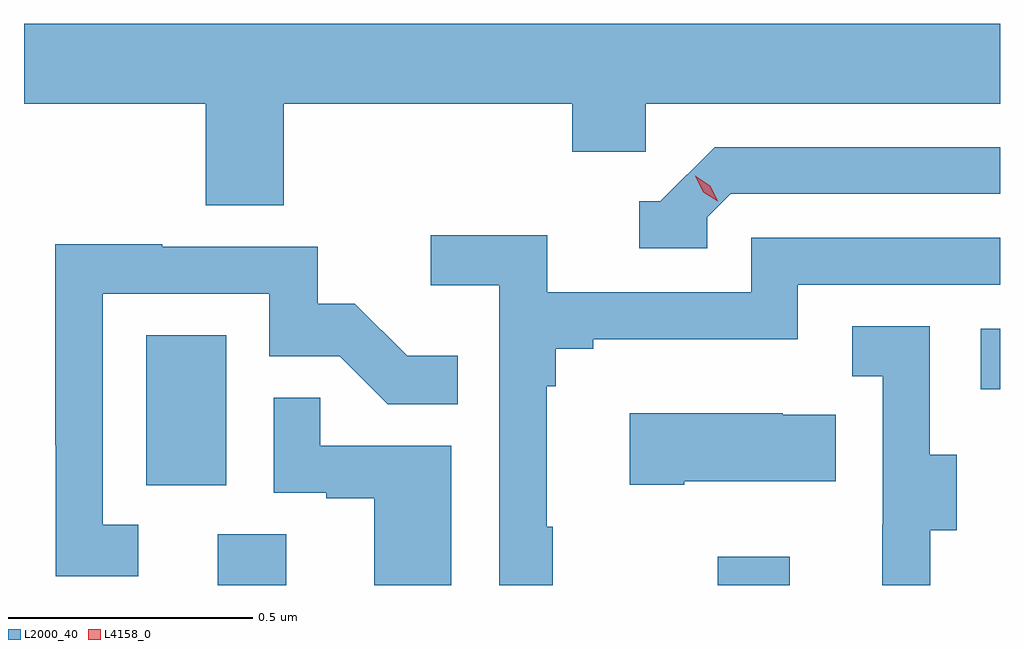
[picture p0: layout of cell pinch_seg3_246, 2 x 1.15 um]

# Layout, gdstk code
import gdstk
lib = gdstk.Library(unit=1e-6, precision=1e-09)
def R(c, l, rs):  # rectangles x0, y0, x1, y1
    for r in rs: c.add(gdstk.rectangle(r[:2], r[2:], *l))
def P(c, l, *ps):  # polygons
    for p in ps: c.add(gdstk.Polygon(p, *l))
L2000_40 = (2000, 40)
L4158_0 = (4158, 0)

pinch_seg3_246 = lib.new_cell('pinch_seg3_246')
R(pinch_seg3_246, L2000_40, [(909.167,731.897,909.307,732.002), (910.192,731.897,910.339,731.956), (909.02,732.102,909.184,732.409), (910.731,732.299,910.77,732.423)])
P(pinch_seg3_246, L2000_40, [(909.302,732.884),(909.893,732.884),(909.893,732.786),(910.044,732.786),(910.044,732.884),(910.77,732.884),(910.77,733.048),(908.77,733.048),(908.77,732.884),(909.142,732.884),(909.142,732.676),(909.302,732.676)],
  [(910.17,732.651),(910.218,732.699),(910.77,732.699),(910.77,732.795),(910.185,732.795),(910.074,732.684),(910.031,732.684),(910.031,732.588),(910.17,732.588)],
  [(909.853,732.017),(909.841,732.017),(909.841,732.305),(909.86,732.305),(909.86,732.382),(909.937,732.382),(909.937,732.401),(910.356,732.401),(910.356,732.513),(910.77,732.513),(910.77,732.609),(910.26,732.609),(910.26,732.498),(909.842,732.498),(909.842,732.614),(909.603,732.614),(909.603,732.512),(909.744,732.512),(909.744,731.897),(909.853,731.897)],
  [(909.004,732.021),(908.931,732.021),(908.931,732.495),(909.273,732.495),(909.273,732.366),(909.417,732.366),(909.515,732.268),(909.659,732.268),(909.659,732.367),(909.555,732.367),(909.448,732.474),(909.372,732.474),(909.372,732.591),(909.053,732.591),(909.053,732.596),(908.834,732.596),(908.834,732.184),(908.835,732.184),(908.835,731.916),(909.004,731.916)],
  [(910.627,732.01),(910.681,732.01),(910.681,732.165),(910.626,732.165),(910.626,732.428),(910.467,732.428),(910.467,732.325),(910.53,732.325),(910.53,732.021),(910.529,732.021),(910.529,731.897),(910.627,731.897)],
  [(909.646,732.183),(909.377,732.183),(909.377,732.281),(909.282,732.281),(909.282,732.087),(909.389,732.087),(909.389,732.075),(909.488,732.075),(909.488,731.897),(909.646,731.897)],
  [(910.123,732.11),(910.433,732.11),(910.433,732.247),(910.325,732.247),(910.325,732.25),(910.011,732.25),(910.011,732.103),(910.123,732.103)])
P(pinch_seg3_246, L4158_0, [(910.192,732.684),(910.162,732.703),(910.145,732.735),(910.145,732.736),(910.146,732.736),(910.176,732.716),(910.192,732.684),(910.192,732.684)])

lib.write_gds('pinch_seg3_246.gds')
